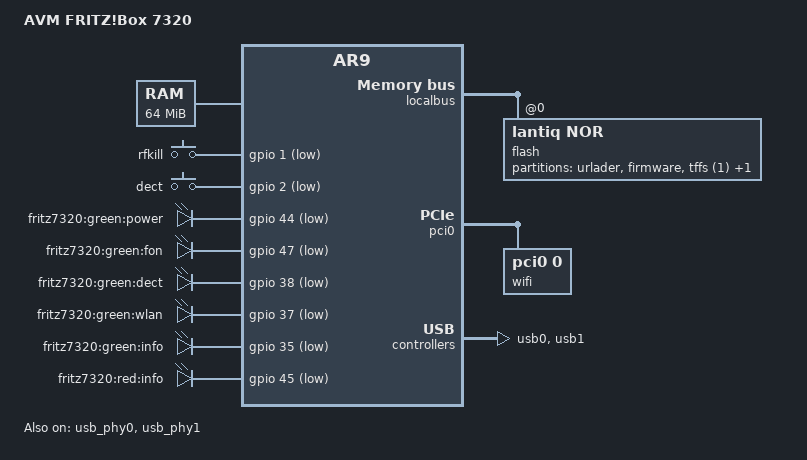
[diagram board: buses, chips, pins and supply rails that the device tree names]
/dts-v1/;

#include "ar9.dtsi"

#include <dt-bindings/input/input.h>

/ {
	compatible = "avm,fritz7320", "lantiq,xway", "lantiq,ar9";
	model = "AVM FRITZ!Box 7320";

	chosen {
		bootargs = "console=ttyLTQ0,115200";
	};

	aliases {
		led-boot = &power;
		led-failsafe = &power;
		led-running = &power;
		led-upgrade = &power;

		led-dsl = &info_green;
		led-wifi = &wlan;
	};

	memory@0 {
		device_type = "memory";
		reg = <0x0 0x4000000>;
	};

	keys {
		compatible = "gpio-keys-polled";
		poll-interval = <100>;

		rfkill {
			label = "rfkill";
			gpios = <&gpio 1 GPIO_ACTIVE_LOW>;
			linux,code = <KEY_RFKILL>;
		};
		dect {
			label = "dect";
			gpios = <&gpio 2 GPIO_ACTIVE_LOW>;
			linux,code = <KEY_PHONE>;
		};
	};

	leds {
		compatible = "gpio-leds";
		power: power {
			label = "fritz7320:green:power";
			gpios = <&gpio 44 GPIO_ACTIVE_LOW>;
			default-state = "keep";
		};
		voice {
			label = "fritz7320:green:fon";
			gpios = <&gpio 47 GPIO_ACTIVE_LOW>;
		};
		dect {
			label = "fritz7320:green:dect";
			gpios = <&gpio 38 GPIO_ACTIVE_LOW>;
		};
		wlan: wlan {
			label = "fritz7320:green:wlan";
			gpios = <&gpio 37 GPIO_ACTIVE_LOW>;
		};
		info_green: info_green {
			label = "fritz7320:green:info";
			gpios = <&gpio 35 GPIO_ACTIVE_LOW>;
		};
		info_red {
			label = "fritz7320:red:info";
			gpios = <&gpio 45 GPIO_ACTIVE_LOW>;
		};
	};
};

&gsw {
	phy-mode = "mii";
	mtd-mac-address = <&ath9k_cal 0xa91>;
	mtd-mac-address-increment = <(-2)>;
};

&localbus {
	flash@0 {
		compatible = "lantiq,nor";
		bank-width = <2>;
		reg = <0 0x0 0x1000000>;

		partitions {
			compatible = "fixed-partitions";
			#address-cells = <1>;
			#size-cells = <1>;

			ath9k_cal: partition@0 {
				label = "urlader";
				reg = <0x00000 0x20000>;
				read-only;
			};

			partition@20000 {
				label = "firmware";
				reg = <0x20000 0xf60000>;
			};

			partition@f80000 {
				label = "tffs (1)";
				reg = <0xf80000 0x40000>;
				read-only;
			};

			partition@fc0000 {
				label = "tffs (2)";
				reg = <0xfc0000 0x40000>;
				read-only;
			};
		};
	};
};

&pci0 {
	status = "okay";

	pinctrl-0 = <&pci_gnt1_pins>, <&pci_gnt2_pins>,
		    <&pci_gnt3_pins>, <&pci_gnt4_pins>,
		    <&pci_req1_pins>, <&pci_req2_pins>,
		    <&pci_req3_pins>, <&pci_req4_pins>;

	req-mask = <0xf>;
	gpio-reset = <&gpio 21 GPIO_ACTIVE_HIGH>;

	wifi@0,0 {
		compatible = "pci0,0";
		reg = <0x7000 0 0 0 0>;
		qca,no-eeprom; /* load from ath9k-eeprom-pci-0000:00:0e.0.bin */
	};
};

&usb_phy0 {
	status = "okay";
};

&usb_phy1 {
	status = "okay";
};

&usb0 {
	status = "okay";
};

&usb1 {
	status = "okay";
};
